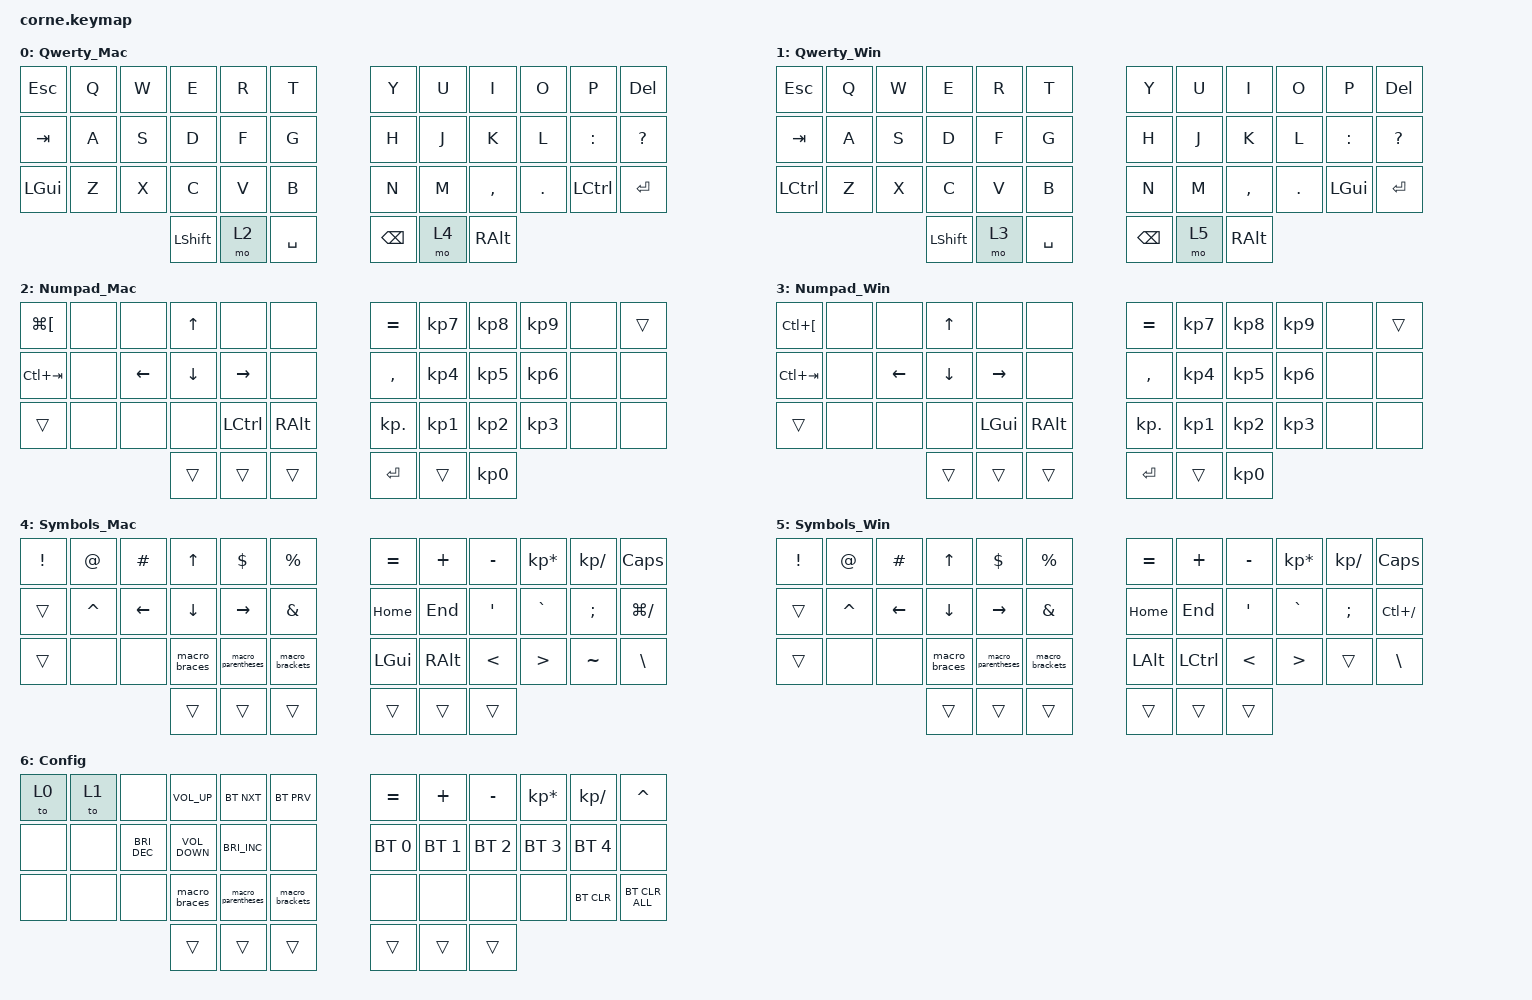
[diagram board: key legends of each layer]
#include <behaviors.dtsi>
#include <dt-bindings/zmk/keys.h>
#include <dt-bindings/zmk/bt.h>

/ {
    macros {
        macro_parentheses: macro_parentheses {
            compatible = "zmk,behavior-macro";
            #binding-cells = <0>;
            bindings =
                <&macro_tap>,
                <&kp LEFT_PARENTHESIS &kp RIGHT_PARENTHESIS &kp LEFT_ARROW>;
        };

        macro_braces: macro_braces {
            compatible = "zmk,behavior-macro";
            #binding-cells = <0>;
            bindings =
                <&macro_tap>,
                <&kp LEFT_BRACE &kp RIGHT_BRACE &kp LEFT_ARROW>;
        };

        macro_brackets: macro_brackets {
            compatible = "zmk,behavior-macro";
            #binding-cells = <0>;
            bindings =
                <&macro_tap>,
                <&kp LEFT_BRACKET &kp RIGHT_BRACKET &kp LEFT_ARROW>;
        };
    };
};

/ {
    combos { compatible = "zmk,combos"; };

    keymap {
        compatible = "zmk,keymap";

        Qwerty_Mac {
            bindings = <
&kp ESCAPE    &kp Q  &kp W  &kp E           &kp R  &kp T      &kp Y          &kp U  &kp I      &kp O    &kp P             &kp DELETE
&kp TAB       &kp A  &kp S  &kp D           &kp F  &kp G      &kp H          &kp J  &kp K      &kp L    &kp COLON         &kp QUESTION
&kp LEFT_GUI  &kp Z  &kp X  &kp C           &kp V  &kp B      &kp N          &kp M  &kp COMMA  &kp DOT  &kp LEFT_CONTROL  &kp ENTER
                            &kp LEFT_SHIFT  &mo 2  &kp SPACE  &kp BACKSPACE  &mo 4  &kp RALT
            >;
        };

        Qwerty_Win {
            bindings = <
&kp ESCAPE    &kp Q  &kp W  &kp E           &kp R  &kp T      &kp Y          &kp U  &kp I      &kp O    &kp P             &kp DELETE
&kp TAB       &kp A  &kp S  &kp D           &kp F  &kp G      &kp H          &kp J  &kp K      &kp L    &kp COLON         &kp QUESTION
&kp LEFT_CONTROL  &kp Z  &kp X  &kp C           &kp V  &kp B      &kp N          &kp M  &kp COMMA  &kp DOT  &kp LEFT_GUI  &kp ENTER
                            &kp LEFT_SHIFT  &mo 3  &kp SPACE  &kp BACKSPACE  &mo 5  &kp RIGHT_ALT
            >;
    };

        Numpad_Mac {
            bindings = <
&kp LG(LEFT_BRACKET)  &none  &none     &kp UP    &none      &none       &kp EQUAL  &kp KP_N7  &kp KP_N8  &kp KP_N9  &none  &trans
&kp LC(TAB)           &none  &kp LEFT  &kp DOWN  &kp RIGHT  &none       &kp COMMA     &kp KP_N4  &kp KP_N5  &kp KP_N6  &none  &none
&trans                &none  &none     &none     &kp LCTRL  &kp RALT    &kp KP_DOT    &kp KP_N1  &kp KP_N2  &kp KP_N3  &none  &none
                                       &trans    &trans     &trans      &kp ENTER     &trans     &kp KP_N0
            >;
        };

        Numpad_Win {
            bindings = <
&kp LC(LEFT_BRACKET)  &none  &none     &kp UP    &none      &none       &kp EQUAL  &kp KP_N7  &kp KP_N8  &kp KP_N9  &none  &trans
&kp LC(TAB)           &none  &kp LEFT  &kp DOWN  &kp RIGHT  &none       &kp COMMA     &kp KP_N4  &kp KP_N5  &kp KP_N6  &none  &none
&trans                &none  &none     &none     &kp LEFT_GUI  &kp RIGHT_ALT    &kp KP_DOT    &kp KP_N1  &kp KP_N2  &kp KP_N3  &none  &none
                                       &trans    &trans     &trans      &kp ENTER     &trans     &kp KP_N0
            >;
        };

        Symbols_Mac {
            bindings = <
&kp EXCLAMATION  &kp AT     &kp HASH  &kp UP         &kp DOLLAR          &kp PERCENT        &kp EQUAL  &kp PLUS       &kp MINUS         &kp KP_ASTERISK   &kp KP_SLASH  &kp CAPSLOCK
&trans           &kp CARET  &kp LEFT  &kp DOWN       &kp RIGHT           &kp AMPERSAND      &kp HOME      &kp END        &kp SINGLE_QUOTE  &kp GRAVE         &kp SEMI      &kp LG(SLASH)
&trans           &none      &none     &macro_braces  &macro_parentheses  &macro_brackets    &kp LEFT_GUI  &kp RIGHT_ALT  &kp LESS_THAN     &kp GREATER_THAN  &kp TILDE     &kp BACKSLASH
                                      &trans         &trans              &trans             &trans        &trans         &trans
            >;
        };

        Symbols_Win {
            bindings = <
&kp EXCLAMATION  &kp AT     &kp HASH  &kp UP         &kp DOLLAR          &kp PERCENT        &kp EQUAL  &kp PLUS       &kp MINUS         &kp KP_ASTERISK   &kp KP_SLASH  &kp CAPSLOCK
&trans           &kp CARET  &kp LEFT  &kp DOWN       &kp RIGHT           &kp AMPERSAND      &kp HOME      &kp END        &kp SINGLE_QUOTE  &kp GRAVE         &kp SEMI      &kp LC(SLASH)
&trans           &none      &none     &macro_braces  &macro_parentheses  &macro_brackets    &kp LEFT_ALT  &kp LEFT_CONTROL  &kp LESS_THAN     &kp GREATER_THAN  &trans        &kp BACKSLASH
                                      &trans         &trans              &trans             &trans        &trans         &trans
            >;
        };

        Config {
            bindings = <
&to 0  &to 1  &none                 &kp C_VOLUME_UP    &bt BT_NXT            &bt BT_PRV     &kp EQUAL  &kp PLUS  &kp MINUS  &kp KP_ASTERISK  &kp KP_SLASH  &kp CARET
&none  &none  &kp C_BRIGHTNESS_DEC  &kp C_VOLUME_DOWN  &kp C_BRIGHTNESS_INC  &none              &bt BT_SEL 0  &bt BT_SEL 1  &bt BT_SEL 2  &bt BT_SEL 3  &bt BT_SEL 4   &none
&none  &none  &none                 &macro_braces      &macro_parentheses    &macro_brackets    &none         &none         &none         &none         &bt BT_CLR     &bt BT_CLR_ALL
                                    &trans             &trans                &trans             &trans        &trans    &trans
            >;
        };



    };

    conditional_layers {
        compatible = "zmk,conditional-layers";

        both {
            if-layers = <2 4>;
            then-layer = <6>;
        };
        both_8_9 {
            if-layers = <3 5>;
            then-layer = <6>;
        };
    };
};
